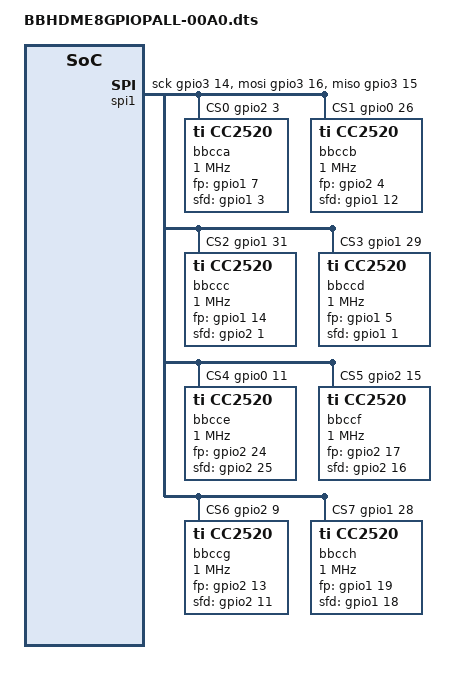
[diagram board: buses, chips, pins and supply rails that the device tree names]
/dts-v1/;
/plugin/;
 
/{
    compatible = "ti,beaglebone", "ti,beaglebone-black", "ti,beaglebone-green";
    part-number = "BBHDME8GPIOPALL";
    version = "00A0";

    fragment@0 {
        target = <&am33xx_pinmux>;
        __overlay__ {

            bb_cc_1_pins: pinmux_bb_cc_1_pins {
                pinctrl-single,pins = <  //0x17=output_pullup 0x27=input_pulldown 
                         0x01c  0x2F  // P8_04   gpio1_7    fp1         hdme2 
                         0x00c  0x2F  // P8_06   gpio1_3    sf1         hdme4     
                >;
            };
            bb_cc_2_pins: pinmux_bb_cc_2_pins {
                pinctrl-single,pins = <  //0x17=output_pullup 0x27=input_pulldown
                         0x098  0x2F  // P8_10   gpio2_4    fp2         hdme8 
                         0x030  0x2F  // P8_12   gpio1_12   sf2         hdme10 x buggy!
                >;
            };

            bb_cc_3_pins: pinmux_bb_cc_3_pins {
                    pinctrl-single,pins = <  //0x17=output_pullup 0x27=input_pulldown
                         0x038  0x2F  // P8_16   gpio1_14   fp3         hdme14 x
                         0x08c  0x2F  // P8_18   gpio2_1    sf3         hdme16 x
                >;
            };

            bb_cc_4_pins: pinmux_bb_cc_4_pins {
                    pinctrl-single,pins = <  //0x17=output_pullup 0x27=input_pulldown
                         0x014  0x2F  // P8_22   gpio1_5    fp4         hdme20
                         0x004  0x2F  // P8_24   gpio1_1    sf4         hdme22
                >;
            };

            bb_cc_5_pins: pinmux_bb_cc_5_pins {
                pinctrl-single,pins = <  //0x17=output_pullup 0x27=input_pulldown
                     0x0e8  0x2F  // P8_28   gpio2_24   fp5         hdme26*
                     0x0ec  0x2F  // P8_30   gpio2_25   sf5         hdme28
                >;
            };

            bb_cc_6_pins: pinmux_bb_cc_6_pins {
                pinctrl-single,pins = <  //0x17=output_pullup 0x27=input_pulldown
                     0x0cc  0x2F  // P8_34   gpio2_17   fp6         hdme32
                     0x0c8  0x2F  // P8_36   gpio2_16   sf6         hdme34
                >;
            };

            bb_cc_7_pins: pinmux_bb_cc_7_pins {
                pinctrl-single,pins = <  //0x17=output_pullup 0x27=input_pulldown
                     0x0bc  0x2F  // P8_40   gpio2_13   fp7         hdme38
                     0x0b4  0x2F  // P8_42   gpio2_11   sf7         hdme40
                >;
            };
            bb_cc_8_pins: pinmux_bb_cc_8_pins {
                pinctrl-single,pins = <  //0x17=output_pullup 0x27=input_pulldown
                     0x048 0x2F   // P9_14   gpio1_18  sf8          hdme48
                     0x04c 0x2F   // P9_16   gpio1_19  fp8          hdme50
                >;
            };

/*
            bb_cc_reset_pins: pinmux_bb_cc_reset_pins {
                pinctrl-single,pins = <
                     0x044  0x17  // P9_23   gpio1_17  reset        hdme51
                >;
            };
*/
            bb_cc_spi1_pins: pinmux_bb_spi1_pins {
                pinctrl-single,pins = <
                        0x044  0x7  // P9_23   gpio1_17  reset        hdme51
                        0x094  0x17  // P8_08   gpio2_3    cs1         hdme6 
                        0x028  0x17  //< P8_14  gpio0_26   cs2         hdme12 x
                        0x084  0x17  // P8_20   gpio1_31   cs3         hdme18
                        0x07c  0x17  //< P8_26  gpio1_29   cs4          hdme24 x
                        0x0dc  0x17  // P8_32   gpio0_11   cs5         hdme30
                        0x0c4  0x17  // P8_38   gpio2_15   cs6         hdme36
                        0x0ac  0x17  // P8_44   gpio2_9    cs7         hdme42
                        0x078 0x17   // P9_12   gpio1_28  cs8   hdme46
                        0x198 0x13 // spi1_d1,    OUTPUT_PULLUP | MODE0
                        0x194 0x33 // spi1_d0,   INPUT_PULLUP  | MODE0
                        0x190 0x33 // spi1_sclk, INPUT_PULLUP  | MODE0
                    >;
                };
        };
    };

    fragment@1 {
        target = <&ocp>;
        //target = <&spi1>;
        __overlay__ {

            spi1 {
                compatible = "spi-gpio";
                gpio-sck = <&gpio3 14 0>;
                gpio-mosi = <&gpio3 16 0>;
                gpio-miso = <&gpio3 15 0>;
                num-chipselects = <8>;
                #address-cells = <0x1>;
                #size-cells = <0>; 

                pinctrl-0 = <&bb_cc_spi1_pins>;

/*                cs-gpios =  <&gpio1 28 0>, <&gpio2 3 0>, <&gpio0 26 0>,<&gpio1 31 0>,
                            <&gpio1 29 0>,<&gpio0 11 0>, <&gpio2 15 0>,<&gpio2 9 0>;
*/
                cs-gpios =  <&gpio2 3 0>, <&gpio0 26 0>, <&gpio1 31 0>,<&gpio1 29 0>,
                            <&gpio0 11 0>,<&gpio2 15 0>, <&gpio2 9 0>,<&gpio1 28 0>;


                greset = <&gpio1 17 0>;

                bbcca@1 {
                    reg = <0>;      
                    spi-max-frequency = <1000000>;
                    compatible = "ti,cc2520";
                    pinctrl-names = "default";
                    pinctrl-0 = <&bb_cc_1_pins>;
                    fp   = <&gpio1 7 0>;
                    sfd   = <&gpio1 3 0>;
                    ddr = <500>;
                };

                bbccb@2 {
                    reg = <1>;      
                    spi-max-frequency = <1000000>;
                    compatible = "ti,cc2520";
                    pinctrl-names = "default";
                    pinctrl-0 = <&bb_cc_2_pins>;
                    fp   = <&gpio2 4 0>;
                    sfd   = <&gpio1 12 0>;
                    ddr = <500>;
                };

                bbccc@3 {
                    reg = <2>;      
                    spi-max-frequency = <1000000>;
                    compatible = "ti,cc2520";
                    pinctrl-names = "default";
                    pinctrl-0 = <&bb_cc_3_pins>;
                    fp   = <&gpio1 14 0>;
                    sfd   = <&gpio2 1 0>;
                    ddr = <500>;
                };

                bbccd@4 {
                    reg = <3>;      
                    spi-max-frequency = <1000000>;
                    compatible = "ti,cc2520";
                    pinctrl-names = "default";
                    pinctrl-0 = <&bb_cc_4_pins>;
                    fp   = <&gpio1 5 0>;
                    sfd   = <&gpio1 1 0>;
                    ddr = <500>;
                };

                bbcce@5 {
                    reg = <4>;      
                    spi-max-frequency = <1000000>;
                    compatible = "ti,cc2520";
                    pinctrl-names = "default";
                    pinctrl-0 = <&bb_cc_5_pins>;
                    fp   = <&gpio2 24 0>;
                    sfd   = <&gpio2 25 0>;
                    ddr = <500>;
                };

                bbccf@6 {
                    reg = <5>;      
                    spi-max-frequency = <1000000>;
                    compatible = "ti,cc2520";
                    pinctrl-names = "default";
                    pinctrl-0 = <&bb_cc_6_pins>;
                    fp   = <&gpio2 17 0>;
                    sfd   = <&gpio2 16 0>;
                    ddr = <500>;
                };

                bbccg@7 {
                    reg = <6>;      
                    spi-max-frequency = <1000000>;
                    compatible = "ti,cc2520";
                    pinctrl-names = "default";
                    pinctrl-0 = <&bb_cc_7_pins>;
                    fp   = <&gpio2 13 0>;
                    sfd   = <&gpio2 11 0>;
                    ddr = <500>;
                };

                bbcch@8 {
                    reg = <7>;      
                    spi-max-frequency = <1000000>;
                    compatible = "ti,cc2520";
                    pinctrl-names = "default";
                    pinctrl-0 = <&bb_cc_8_pins>;
                    fp   = <&gpio1 19 0>;
                    sfd   = <&gpio1 18 0>;
                    ddr = <500>;
                };
            };
        };
    };
};
